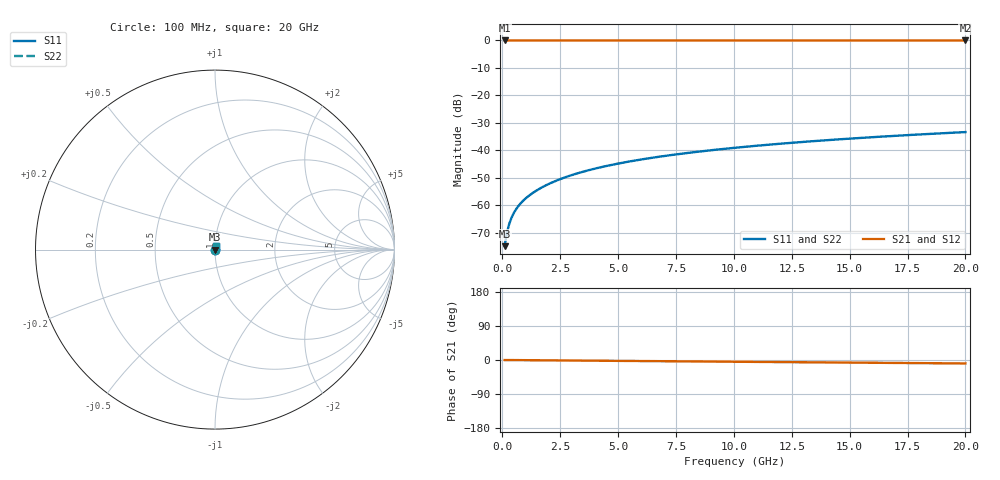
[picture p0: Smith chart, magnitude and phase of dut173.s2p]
! Touchstone file exported from HFSS 2026.1.0
!  File:  C:/ffzhzh/LocalFiles/Ansys_Project_Files/temp_train_TSV_173_1782991108_42984.aedt
!  Generated:  07:19:54 PM Jul  2, 2026
!  Design:  TSV
!  Project:  temp_train_TSV_173_1782991108_42984
! Variables:
!  h_bsmrdl = 2um
!  h_ox = 20um
!  h_rdl = 5um
!  h_sub = 88.22um
!  h_tmrdl = 5um
!  h_tsv = 88.22um
!  h_via = 3um
!  l_bsmrdl = 300um
!  l_sub = 424.26um
!  l_tmrdl = 200um
!  m_sub = 200um
!  pitch = 56.69um
!  r_tsv = 12.13um
!  s_tmrdl = 10um
!  w_bsmrdl = 18um
!  w_sub = 500um
!  w_tmrdl = 12um
!  x_tsv_center1 = 206um
!  x_tsv_center2 = 524um
!  x_tsv_center3 = 736um
!  x_tsv_center4 = 1054um
!  x_tsv_center5 = 1266um
!  x_tsv_center6 = 1584um
# GHz S MA R 50.000000
! Terminal data exported
! Port[1] = TSV1_1_T1
! Port[2] = TSV1_1_T2
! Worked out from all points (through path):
!   200 points, 100 MHz to 20 GHz, reference 50 ohm
!   highest |S21| = 0.00 dB at 100 MHz (marker M1); lowest = 0.0 dB at 20 GHz (marker M2)
!   group delay of S21, straight-line fit = 1.26 ps
!   lowest |S11| = -74.8 dB at 100 MHz (marker M3), VSWR 1.00, Z = 50 + j0.0152 ohm
!   |S11| at or under -10 dB: start of sweep to end of sweep
!   |S22| runs from -74.8 to -33.3 dB; largest |S21 - S12| = 3.4e-15
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0.1  0.0001821 56.5  0.9999 -0.0  0.9999 -0.0  0.0001821 56.5
! Gamma 0 0 0 0
! Port Impedance 50 0 50 0
0.2  0.0003213 69.3  0.9999 -0.1  0.9999 -0.1  0.0003213 69.3
0.3  0.0004633 73.3  0.9999 -0.1  0.9999 -0.1  0.0004633 73.3
0.4  0.0006012 74.9  0.9998 -0.2  0.9998 -0.2  0.0006012 74.9
0.5  0.0007337 75.6  0.9998 -0.2  0.9998 -0.2  0.0007337 75.6
0.6  0.000861 76.1  0.9998 -0.3  0.9998 -0.3  0.000861 76.1
0.7  0.0009839 76.5  0.9998 -0.3  0.9998 -0.3  0.0009839 76.5
0.9  0.00122 77.1  0.9997 -0.4  0.9997 -0.4  0.00122 77.1
1.1  0.001449 77.7  0.9997 -0.5  0.9997 -0.5  0.001449 77.7
1.3  0.001674 78.3  0.9997 -0.6  0.9997 -0.6  0.001674 78.3
1.6  0.002009 79.2  0.9996 -0.7  0.9996 -0.7  0.002009 79.2
1.9  0.002344 79.8  0.9996 -0.9  0.9996 -0.9  0.002344 79.8
2.6  0.003124 80.9  0.9996 -1.2  0.9996 -1.2  0.003124 80.9
3.5  0.004125 81.6  0.9995 -1.6  0.9995 -1.6  0.004125 81.6
4.2  0.004898 81.8  0.9995 -1.9  0.9995 -1.9  0.004898 81.8
5  0.005774 81.9  0.9994 -2.3  0.9994 -2.3  0.005774 81.9
6.8  0.007725 81.8  0.9993 -3.1  0.9993 -3.1  0.007725 81.8
8.3  0.009335 81.5  0.9992 -3.8  0.9992 -3.8  0.009335 81.5
10.1  0.01125 81.1  0.9991 -4.6  0.9991 -4.6  0.01125 81.1
13.4  0.01474 80.1  0.9989 -6.1  0.9989 -6.1  0.01474 80.2
16.7  0.01819 79.0  0.9988 -7.6  0.9988 -7.6  0.01819 79.0
20  0.0216 77.8  0.9986 -9.1  0.9986 -9.1  0.0216 77.8
